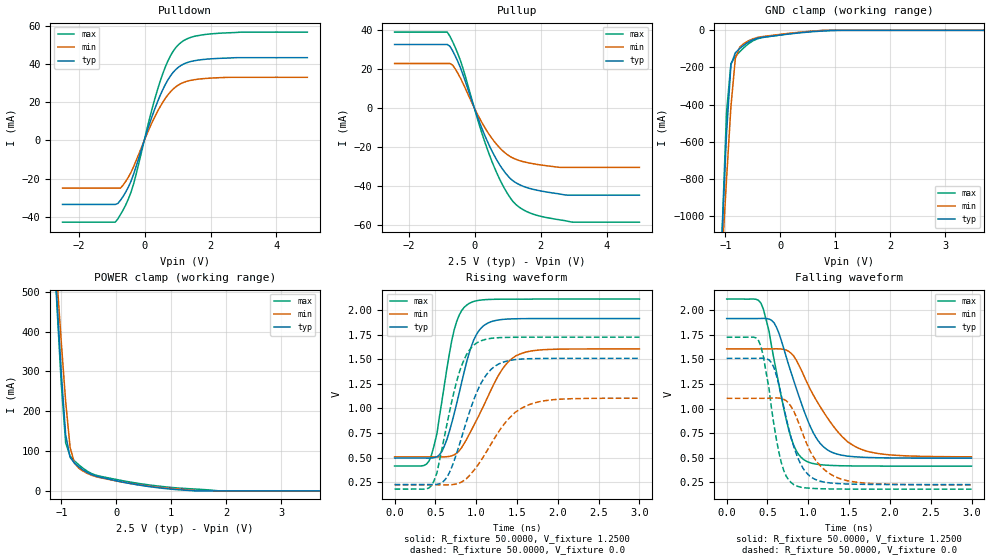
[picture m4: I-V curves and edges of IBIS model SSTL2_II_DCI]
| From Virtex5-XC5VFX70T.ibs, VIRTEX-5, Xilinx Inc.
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|   Model SSTL2_II_DCI
[Model]  SSTL2_II_DCI
Model_type I/O
Polarity   Non-Inverting
Enable   Active-Low
Vinl = 1.1
Vinh = 1.4
Vmeas =  1.2500V
Cref =   0.0F
Rref =   50.0000
Vref =   1.2500V
C_comp   6.0000pF   6.0000pF   6.0000pF
[Model Spec]
Vinl   1.1   1.0   1.2
Vinh   1.4   1.3   1.5
[Temperature Range]   25.0000   85.0000   0.0
[Voltage Range]   2.5000V   2.3000V   2.7000V
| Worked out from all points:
|   slope of the pulldown table from 0 to 0.375 V, typ, clamps not added: 20 ohm
|   slope of the pullup table from 0 to 0.375 V, typ, clamps not added: 23.1 ohm
|   rising waveform, R_fixture 50.0000, V_fixture 1.2500: 20-80 % time 264ps typ, 402ps min, 202ps max; typ from 0.497 V to 1.91 V
|   rising waveform, R_fixture 50.0000, V_fixture 0.0: 20-80 % time 321ps typ, 439ps min, 258ps max; typ from 0.228 V to 1.51 V
|   falling waveform, R_fixture 50.0000, V_fixture 1.2500: 20-80 % time 354ps typ, 482ps min, 249ps max; typ from 1.91 V to 0.497 V
|   falling waveform, R_fixture 50.0000, V_fixture 0.0: 20-80 % time 244ps typ, 322ps min, 185ps max; typ from 1.51 V to 0.228 V
[Pulldown]
|Voltage   I(typ)   I(min)   I(max)
-2.5V     -33.6mA    -25.04mA   -42.9mA
-900mV    -33.6mA    -25.04mA   -42.9mA
-820mV    -33.1mA    -25.04mA   -41.2mA
-660mV    -29.41mA   -23.48mA   -36.57mA
-340mV    -17.73mA   -13.8mA    -22.83mA
220mV     12.5mA     9.35mA     16.44mA
540mV     26.36mA    19.78mA    34.64mA
780mV     33.8mA     25.46mA    44.35mA
1.1V      39.27mA    29.79mA    51.33mA
1.5V      41.73mA    31.79mA    54.53mA
2.06V     42.81mA    32.7mA     55.92mA
4.94V     43.37mA    33.08mA    56.78mA
[Pullup]
|Voltage   I(typ)   I(min)   I(max)
-2.44V    32.67mA    22.89mA    39.06mA
-840mV    32.67mA    22.89mA    39.06mA
-680mV    29.5mA     22.15mA    34.26mA
-440mV    20.73mA    15.41mA    24.4mA
120mV     -6.43mA    -4.6mA     -7.98mA
520mV     -22.21mA   -15.72mA   -27.61mA
920mV     -33.3mA    -23.17mA   -42.08mA
1.16V     -37.52mA   -25.8mA    -48.2mA
1.32V     -39.19mA   -26.9mA    -50.74mA
1.88V     -42.31mA   -29.03mA   -55.25mA
2.92V     -44.9mA    -30.6mA    -58.66mA
5V        -44.9mA    -30.6mA    -58.8mA
[GND_clamp]
|Voltage   I(typ)   I(min)   I(max)
-2.5V     -11.3A     -8.717A    -13.55A
-1.06V    -1.092A    -1.211A    -1.08A
-980mV    -556mA     -802mA     -442mA
-900mV    -185mA     -410mA     -179mA
-820mV    -121mA     -152mA     -141mA
-740mV    -97.87mA   -90.46mA   -115mA
-580mV    -62.86mA   -56.24mA   -72.31mA
-500mV    -50.62mA   -45.7mA    -56.54mA
-340mV    -38.25mA   -34.2mA    -39.58mA
300mV     -15.2mA    -11.76mA   -13.3mA
780mV     -3.663mA   -442uA     -708uA
4.94V     0A         0A         0A
[POWER_clamp]
|Voltage   I(typ)   I(min)   I(max)
-2.44V    3.787A     3.308A     4.154A
-1.16V    675mA      698mA      683mA
-1.08V    482mA      535mA      468mA
-1V       297mA      374mA      269mA
-920mV    141mA      224mA      121mA
-840mV    84.43mA    110mA      87.64mA
-760mV    69.7mA     69.87mA    75.34mA
-520mV    45.65mA    43.57mA    48.96mA
-360mV    36.93mA    35.51mA    39.13mA
280mV     17.88mA    18.12mA    21.67mA
1.4V      406uA      1.438mA    5.001mA
5V        0A         0A         0A
[Ramp]
| variable   typ   min   max
dV/dt_r  0.7685/0.3202n   0.5273/0.4383n   0.9253/0.2570n
dV/dt_f  0.8269/0.4979n   0.6551/0.6636n   1.0292/0.3560n
R_load = 50.0000
[Rising Waveform]
R_fixture= 50.0000
V_fixture= 1.2500
V_fixture_min= 1.1500
V_fixture_max= 1.3500
|time   V(typ)   V(min)   V(max)
0s        496.7mV    509.3mV    415.8mV
420ps     496.6mV    509.3mV    464.2mV
520ps     509.6mV    509.3mV    750.5mV
580ps     564.4mV    509.1mV    1.076V
730ps     947mV      529.6mV    1.797V
910ps     1.553V     730.7mV    2.065V
1.09ns    1.84V      1.026V     2.104V
1.3ns     1.902V     1.373V     2.11V
1.48ns    1.911V     1.532V     2.11V
3ns       1.913V     1.605V     2.111V
[Rising Waveform]
R_fixture= 50.0000
V_fixture= 0.0
|time   V(typ)   V(min)   V(max)
0s        228.1mV    225.1mV    181.8mV
450ps     227.7mV    225.1mV    215.6mV
520ps     229.8mV    225.1mV    349.9mV
670ps     346.2mV    225.4mV    954.9mV
820ps     702.8mV    253mV      1.432V
1ns       1.152V     402.7mV    1.662V
1.24ns    1.435V     718.9mV    1.717V
1.48ns    1.496V     962.6mV    1.723V
1.64ns    1.505V     1.036V     1.724V
3ns       1.509V     1.104V     1.724V
[Falling Waveform]
R_fixture= 50.0000
V_fixture= 1.2500
V_fixture_min= 1.1500
V_fixture_max= 1.3500
|time   V(typ)   V(min)   V(max)
0s        1.913V     1.605V     2.111V
420ps     1.914V     1.605V     2.069V
520ps     1.908V     1.605V     1.78V
610ps     1.825V     1.607V     1.37V
790ps     1.364V     1.56V      699.7mV
940ps     994.5mV    1.344V     484mV
1.18ns    616.5mV    974.4mV    428mV
1.39ns    530.2mV    737.3mV    419.8mV
1.61ns    508.3mV    599.7mV    417.2mV
3ns       496.7mV    510.2mV    415.9mV
[Falling Waveform]
R_fixture= 50.0000
V_fixture= 0.0
|time   V(typ)   V(min)   V(max)
0s        1.509V     1.104V     1.724V
390ps     1.51V      1.104V     1.69V
450ps     1.511V     1.104V     1.526V
580ps     1.413V     1.107V     831.7mV
700ps     1.013V     1.093V     369.6mV
820ps     619.4mV    977.9mV    228.5mV
1ns       328.5mV    606mV      192.3mV
1.15ns    262mV      416.7mV    186.2mV
1.36ns    239mV      297.5mV    183.4mV
3ns       228.2mV    225.4mV    181.9mV
